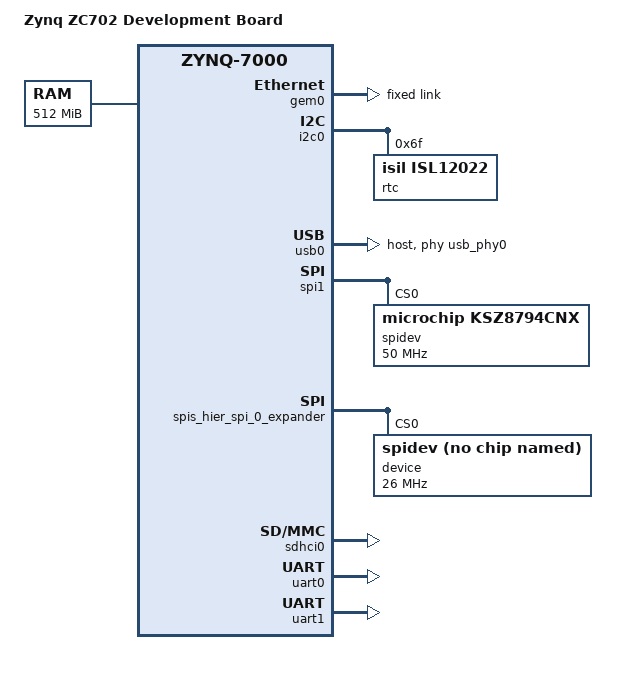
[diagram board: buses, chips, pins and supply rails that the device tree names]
/*
 *  Copyright (C) 2011 - 2014 Xilinx
 *  Copyright (C) 2012 National Instruments Corp.
 *
 * This software is licensed under the terms of the GNU General Public
 * License version 2, as published by the Free Software Foundation, and
 * may be copied, distributed, and modified under those terms.
 *
 * This program is distributed in the hope that it will be useful,
 * but WITHOUT ANY WARRANTY; without even the implied warranty of
 * MERCHANTABILITY or FITNESS FOR A PARTICULAR PURPOSE.  See the
 * GNU General Public License for more details.
 */
/dts-v1/;
/include/ "zynq-7000.dtsi"
/include/ "zynq-zc702-ax.dtsi"
/{
       model = "Zynq ZC702 Development Board";
       compatible = "xlnx,zynq-zc702", "xlnx,zynq-7000";

       chosen {
                bootargs = "";
                stdout-path = "serial0:115200n8";
       };

       memory {
               device_type = "memory";
               reg = <0x0 0x20000000>;
       };

       aliases {
                ethernet0 = &gem0;
                i2c0 = &i2c0;
                usb0 = &usb0;
                serial0 = &uart0;
                serial1 = &uart1;
                serial3 = &uart0;
                serial4 = &uart1;
                spi0 = &axi_quad_spi_1;
                spi1 = &axi_quad_spi_2;
                spi2 = &spi1;
       };

     usb_phy0: usb_phy@0 {
         compatible = "usb-nop-xceiv";
         #phy-cells = <0>;
         reg = <0xe0002000 0x1000>;
         view-port = <0x170>;
         drv-vbus;
       };
 };


&clkc {
        fclk-enable = <0xf>;
        ps-clk-frequency = <33333333>;
};


&gem0 {
    status = "okay";
    fixed-link {
        speed = <1000>;
        full-duplex;
    };
};


&i2c0 {
    rtc:rtc@6F {
        compatible = "isil,isl12022";
        reg = <0x6F>;
    };
};

&ph0_hier_BERT_0 {
    compatible = "generic-uio";
};

&ph1_hier_BERT_1 {
    compatible = "generic-uio";
};

&ph0_hier_GPIO_0 {
    compatible = "generic-uio";
};

&ph1_hier_GPIO_1 {
    compatible = "generic-uio";
};

&pcore_hk {
    compatible = "generic-uio";
};


&usb0 {
   status = "okay";
   dr_mode = "host";
   usb-phy = <&usb_phy0>;
};


// spi1 refers to spi@e0007000 (even if this one is aliased as spi0)
&spi1 {
    is-decoded-cs = <0>;
    num-cs = <1>;
    status = "okay";
    spidev@0x00 {
        compatible = "microchip,ksz8794cnx";
        spi-max-frequency = <50000000>;
        reg = <0>;
    };
};

// spi 0 is here refering to SPI 0 of the Zynq PL sides spi controllers
 &spis_hier_spi_0_expander {
    is-decoded-cs = <0>;
    num-cs = <1>;
    #address-cells=<1>;
    #size-cells=<0>;
    status = "okay";
    device@0 {
        compatible = "spidev";
        reg = <0>;  //Chip select 0
        spi-max-frequency = <26000000>;
    };
};



// spi 1 is here refering to SPI 1 of the Zynq PL sides spi controllers
&spis_hier_spi_1_housekeeping {
    compatible = "generic-uio";
    /delete-property/ bits-per-word;
    /delete-property/ fifo-size;
    /delete-property/ num-cs;
    /delete-property/ xlnx,num-ss-bits;
    /delete-property/ xlnx,spi-mode;

};

&i2c0 {
	status = "okay";
};
&sdhci0 {
	status = "okay";
};
&spi1 {
	status = "okay";
};
&uart0 {
	device_type = "serial";
	status = "okay";
};
&uart1 {
	device_type = "serial";
	status = "okay";
};                                                       
